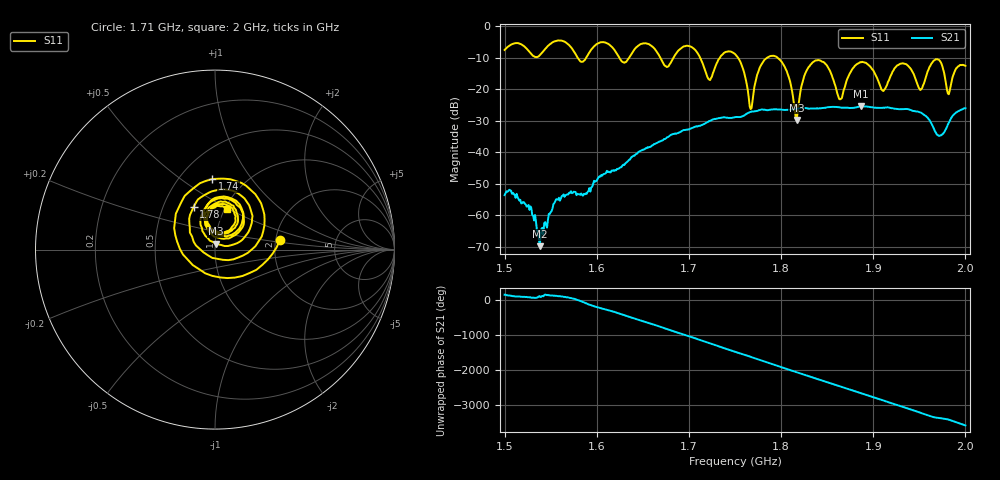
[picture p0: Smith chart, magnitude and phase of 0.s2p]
! NanoVNA-App by SYSJOINT et al v1.1.209 (+OD18)
! Date: 2026-01-21 14:13:58
! Start: 1,5GHz Stop: 2GHz Points: 501
! S-Parameter data: F S11 S21 S12 S22
# Hz S RI R 50
!  Frequency  S11_Real  S11_Imag  S21_Real  S21_Imag  S12_Real  S12_Imag  S22_Real  S22_Imag
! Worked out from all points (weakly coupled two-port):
!   501 points, 1.5 GHz to 2 GHz, reference 50 ohm
!   highest |S21| = -25.41 dB at 1.887 GHz (marker M1); lowest = -69.9 dB at 1.538 GHz (marker M2)
!   lowest |S11| = -29.8 dB at 1.817 GHz (marker M3), VSWR 1.07, Z = 50.3 + j3.25 ohm
!   |S11| at or under -10 dB: 1.712 GHz to 1.733 GHz (21.23 MHz wide, 1.23 % of centre); 1.753 GHz to 1.785 GHz (31.29 MHz wide, 1.77 % of centre); 1.796 GHz to end of sweep (the widest 3 of 6)
!   S12 and S22 are empty: the file has one direction only
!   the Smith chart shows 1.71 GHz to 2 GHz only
!   S11 on the Smith chart (normalised r, x): 1.71 GHz: 2.11, +0.25; 1.74 GHz: 0.71, +0.66; 1.78 GHz: 0.71, +0.36; 2 GHz: 1.02, +0.49
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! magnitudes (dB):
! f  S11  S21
! 1.5 GHz  -7.5  -53.6
! 1.538 GHz  -9.2  -69.9
! 1.557 GHz  -4.6  -55.0
! 1.584 GHz  -11.2  -53.5
! 1.667 GHz  -8.9  -36.7
! 1.71 GHz  -8.8  -31.7
! 1.722 GHz  -16.9  -30.1
! 1.74 GHz  -8.1  -28.9
! 1.75 GHz  -8.8  -28.9
! 1.767 GHz  -26.3  -27.2
! 1.78 GHz  -11.5  -26.4
! 1.802 GHz  -11.9  -26.5
! 1.817 GHz  -29.8  -26.2
! 1.834 GHz  -11.5  -26.1
! 1.864 GHz  -23.2  -25.7
! 1.887 GHz  -11.4  -25.4
! 1.917 GHz  -17.2  -25.8
! 1.934 GHz  -11.8  -26.3
! 1.952 GHz  -20.0  -27.4
! 1.972 GHz  -10.8  -34.8
! 1.982 GHz  -21.6  -30.6
! 2 GHz  -12.5  -26.0
